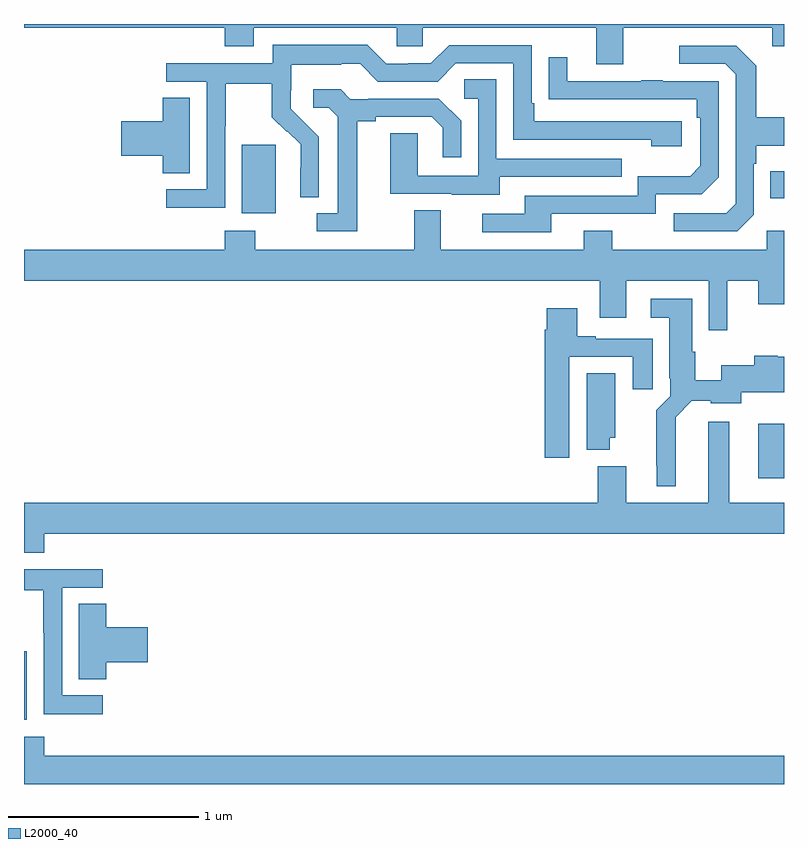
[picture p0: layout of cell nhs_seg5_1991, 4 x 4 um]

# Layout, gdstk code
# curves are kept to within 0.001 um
import gdstk
lib = gdstk.Library(unit=1e-6, precision=1e-09)
def R(c, l, rs):  # rectangles x0, y0, x1, y1
    for r in rs: c.add(gdstk.rectangle(r[:2], r[2:], *l))
def P(c, l, *ps):  # polygons
    for p in ps: c.add(gdstk.Polygon(p, *l))
L2000_40 = (2000, 40)

nhs_seg5_1991 = lib.new_cell('nhs_seg5_1991')
R(nhs_seg5_1991, L2000_40, [(229,833.138,229.015,833.499), (232.865,834.408,233,834.694), (230.147,835.802,230.326,836.163), (232.927,835.883,233,836.023)])
P(nhs_seg5_1991, L2000_40, [(229,836.78),(230.057,836.78),(230.057,836.681),(230.209,836.681),(230.209,836.78),(230.961,836.78),(230.961,836.682),(231.099,836.682),(231.099,836.78),(232.013,836.78),(232.013,836.586),(232.153,836.586),(232.153,836.78),(232.937,836.78),(232.937,836.681),(233,836.681),(233,836.799),(229,836.799)],
  [(230.058,836.26),(230.061,836.26),(230.061,836.484),(230.305,836.484),(230.305,836.309),(230.382,836.232),(230.385,836.235),(230.456,836.165),(230.456,836.042),(230.454,836.042),(230.454,835.888),(230.55,835.888),(230.55,836.206),(230.404,836.354),(230.404,836.451),(230.406,836.451),(230.406,836.585),(230.669,836.585),(230.669,836.589),(230.769,836.589),(230.862,836.496),(231.177,836.496),(231.273,836.592),(231.576,836.592),(231.576,836.19),(232.301,836.19),(232.301,836.156),(232.462,836.156),(232.462,836.286),(231.685,836.286),(231.685,836.383),(231.672,836.383),(231.672,836.688),(231.237,836.688),(231.141,836.592),(231.023,836.592),(231.023,836.589),(230.907,836.589),(230.807,836.689),(230.31,836.689),(230.31,836.592),(229.749,836.592),(229.749,836.496),(229.962,836.496),(229.962,835.929),(229.749,835.929),(229.749,835.831),(230.058,835.831)],
  [(232.842,835.794),(232.842,836.063),(232.855,836.063),(232.855,836.159),(233,836.159),(233,836.307),(232.855,836.307),(232.855,836.579),(232.749,836.685),(232.449,836.685),(232.449,836.589),(232.692,836.589),(232.746,836.535),(232.746,835.854),(232.695,835.803),(232.419,835.803),(232.419,835.707),(232.755,835.707)],
  [(231.775,835.8),(232.326,835.8),(232.326,835.902),(232.566,835.902),(232.656,835.992),(232.656,836.499),(232.361,836.499),(232.361,836.504),(232.249,836.504),(232.249,836.499),(231.859,836.499),(231.859,836.623),(231.763,836.623),(231.763,836.404),(232.54,836.403),(232.54,836.306),(232.56,836.306),(232.56,836.052),(232.507,835.999),(232.23,835.999),(232.23,835.896),(231.635,835.896),(231.635,835.8),(231.411,835.8),(231.411,835.704),(231.775,835.704)],
  [(231.505,835.995),(232.145,835.995),(232.145,836.091),(231.486,836.091),(231.486,836.507),(231.318,836.507),(231.318,836.406),(231.39,836.406),(231.39,836.001),(231.072,836.001),(231.072,836.225),(230.927,836.225),(230.927,835.905),(231.251,835.905),(231.251,835.901),(231.505,835.901)],
  [(230.755,836.288),(230.851,836.288),(230.851,836.31),(231.146,836.31),(231.203,836.253),(231.203,836.097),(231.3,836.097),(231.3,836.29),(231.184,836.406),(230.812,836.406),(230.812,836.403),(230.718,836.403),(230.666,836.455),(230.523,836.455),(230.523,836.358),(230.604,836.358),(230.651,836.311),(230.651,835.803),(230.541,835.803),(230.541,835.707),(230.755,835.707)],
  [(229.873,836.411),(229.73,836.411),(229.73,836.288),(229.512,836.288),(229.512,836.105),(229.73,836.105),(229.73,836.014),(229.873,836.014)],
  [(232.702,835.448),(232.865,835.448),(232.865,835.324),(233,835.324),(233,835.711),(232.908,835.711),(232.908,835.612),(232.095,835.612),(232.095,835.711),(231.947,835.711),(231.947,835.612),(231.193,835.612),(231.193,835.82),(231.053,835.82),(231.053,835.612),(230.217,835.612),(230.217,835.711),(230.057,835.711),(230.057,835.612),(229,835.612),(229,835.448),(232.031,835.448),(232.031,835.254),(232.171,835.254),(232.171,835.448),(232.605,835.448),(232.605,835.188),(232.702,835.188)],
  [(232.429,834.728),(232.515,834.815),(232.614,834.815),(232.614,834.803),(232.775,834.803),(232.775,834.86),(233,834.86),(233,835.048),(232.968,835.048),(232.968,835.054),(232.843,835.054),(232.843,835.003),(232.671,835.003),(232.671,834.925),(232.534,834.925),(232.534,835.074),(232.516,835.074),(232.516,835.354),(232.299,835.354),(232.299,835.253),(232.397,835.253),(232.397,834.934),(232.401,834.934),(232.401,834.84),(232.327,834.766),(232.327,834.475),(232.331,834.475),(232.331,834.365),(232.429,834.365)],
  [(231.871,835.047),(232.205,835.047),(232.205,834.876),(232.309,834.876),(232.309,835.143),(232.009,835.143),(232.009,835.156),(231.913,835.156),(231.913,835.303),(231.752,835.303),(231.752,835.19),(231.74,835.19),(231.74,834.516),(231.871,834.516)],
  [(232.084,834.621),(232.111,834.621),(232.111,834.962),(231.962,834.962),(231.962,834.557),(232.084,834.557)],
  [(229.106,834.116),(233,834.116),(233,834.28),(232.711,834.28),(232.711,834.706),(232.601,834.706),(232.601,834.28),(232.171,834.28),(232.171,834.472),(232.019,834.472),(232.019,834.28),(229,834.28),(229,834.017),(229.106,834.017)],
  [(229.414,833.265),(229.2,833.265),(229.2,833.832),(229.414,833.832),(229.414,833.928),(229,833.928),(229,833.82),(229.102,833.82),(229.102,833.596),(229.104,833.596),(229.104,833.167),(229.414,833.167)],
  [(229.433,833.441),(229.651,833.441),(229.651,833.624),(229.433,833.624),(229.433,833.747),(229.289,833.747),(229.289,833.35),(229.433,833.35)],
  [(233,832.948),(229.106,832.948),(229.106,833.047),(229,833.047),(229,832.799),(233,832.799)])

lib.write_gds('nhs_seg5_1991.gds')
